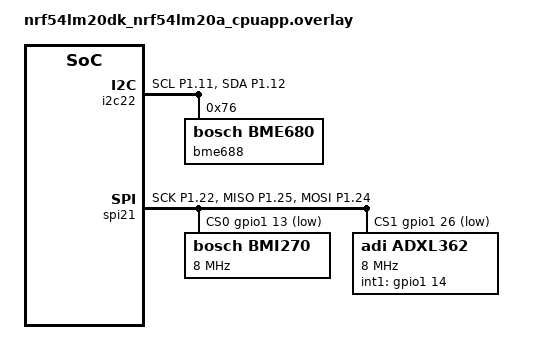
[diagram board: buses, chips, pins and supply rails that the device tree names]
/*
 * Copyright (C) 2025 Nordic Semiconductor ASA
 * SPDX-License-Identifier: LicenseRef-Nordic-5-Clause
 */

/ {
	aliases {
		sensor-bme688 = &i2c22;
		accel0 = &adxl362;
		accel-gyro = &bmi270;
		/delete-property/ led0;
		/delete-property/ led1;
		/delete-property/ sw0;
		/delete-property/ mcuboot-button0;
		/delete-property/ mcuboot-led0;
	};
};

/delete-node/ &led0;	// P1.22 is adxl362 SPIM_SCK
/delete-node/ &led1;	// P1.25 is adxl362 SPIM_MISO
/delete-node/ &button0; // P1.26 is adxl362 chip select signal

&pinctrl {
	i2c22_default: i2c22_default {
		group1 {
			psels = <NRF_PSEL(TWIM_SCL, 1, 11)>,
				<NRF_PSEL(TWIM_SDA, 1, 12)>;
		};
	};

	i2c22_sleep: i2c22_sleep {
		group1 {
			psels = <NRF_PSEL(TWIM_SCL, 1, 11)>,
				<NRF_PSEL(TWIM_SDA, 1, 12)>;
			low-power-enable;
		};
	};

	spi21_default: spi21_default {
		group1 {
			psels = <NRF_PSEL(SPIM_SCK, 1, 22)>,
				<NRF_PSEL(SPIM_MISO, 1, 25)>,
				<NRF_PSEL(SPIM_MOSI, 1, 24)>;
		};
	};

	spi21_sleep: spi21_sleep {
		group1 {
			psels = <NRF_PSEL(SPIM_SCK, 1, 22)>,
				<NRF_PSEL(SPIM_MISO, 1, 25)>,
				<NRF_PSEL(SPIM_MOSI, 1, 24)>;
			low-power-enable;
		};
	};
};

&i2c22 {
	status = "okay";
	zephyr,concat-buf-size = <512>;
	pinctrl-0 = <&i2c22_default>;
	pinctrl-1 = <&i2c22_sleep>;
	pinctrl-names = "default", "sleep";

	bme688: bme688@76 {
		compatible = "bosch,bme680";
		status = "okay";
		reg = <0x76>;
	};
};

&spi21 {
	status = "okay";
	pinctrl-0 = <&spi21_default>;
	pinctrl-1 = <&spi21_sleep>;
	pinctrl-names = "default", "sleep";
	cs-gpios = <&gpio1 13 GPIO_ACTIVE_LOW>,
		   <&gpio1 26 GPIO_ACTIVE_LOW>;

	bmi270: bmi270@0 {
		compatible = "bosch,bmi270";
		status = "okay";
		reg = <0>;
		spi-max-frequency = <DT_FREQ_M(8)>;
	};

	adxl362: adxl362@1 {
		compatible = "adi,adxl362";
		status = "okay";
		reg = <1>;
		int1-gpios = <&gpio1 14 GPIO_ACTIVE_HIGH>;
		spi-max-frequency = <DT_FREQ_M(8)>;
	};
};
